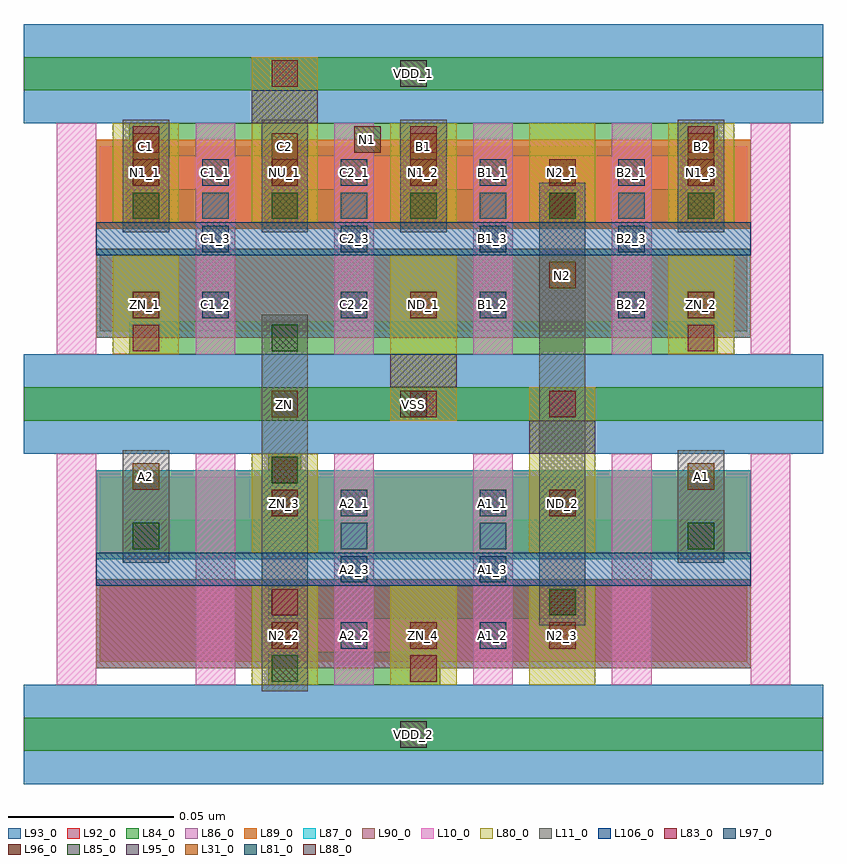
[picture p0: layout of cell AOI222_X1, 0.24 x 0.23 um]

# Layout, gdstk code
import gdstk
lib = gdstk.Library(unit=1e-6, precision=1e-09)
def R(c, l, rs):  # rectangles x0, y0, x1, y1
    for r in rs: c.add(gdstk.rectangle(r[:2], r[2:], *l))
def A(c, l, x, y, w, h, nx, ny, dx, dy):  # array of equal rectangles
    R(c, l, [(x+i*dx, y+j*dy, x+i*dx+w, y+j*dy+h) for i in range(nx) for j in range(ny)])
L10_0 = (10, 0)
L11_0 = (11, 0)
L31_0 = (31, 0)
L80_0 = (80, 0)
L81_0 = (81, 0)
L83_0 = (83, 0)
L84_0 = (84, 0)
L85_0 = (85, 0)
L86_0 = (86, 0)
L87_0 = (87, 0)
L88_0 = (88, 0)
L89_0 = (89, 0)
L90_0 = (90, 0)
L92_0 = (92, 0)
L93_0 = (93, 0)
L95_0 = (95, 0)
L96_0 = (96, 0)
L97_0 = (97, 0)
L106_0 = (106, 0)

aoi222_x1 = lib.new_cell('AOI222_X1')
A(aoi222_x1, L10_0, -0.027, -0.085, 0.012, 0.07, 6, 2, 0.042, 0.1)
A(aoi222_x1, L11_0, 0.035, -0.087, 0.014, 0.034, 1, 5, 0, 0.02)
A(aoi222_x1, L11_0, 0.119, -0.067, 0.014, 0.034, 1, 6, 0, 0.02)
A(aoi222_x1, L11_0, -0.007, 0.052, 0.014, 0.034, 3, 1, 0.042, 0)
R(aoi222_x1, L11_0, [(-0.007,-0.048,0.007,-0.014), (0.161,-0.048,0.175,-0.014), (0.161,0.052,0.175,0.086)])
A(aoi222_x1, L31_0, -0.004, 0.074, 0.008, 0.008, 3, 1, 0.042, 0)
R(aoi222_x1, L31_0, [(-0.004,-0.026,0.004,-0.018), (0.164,-0.026,0.172,-0.018), (0.038,-0.004,0.046,0.004), (0.122,0.035,0.13,0.043), (0.164,0.074,0.172,0.082)])
A(aoi222_x1, L80_0, 0.032, -0.085, 0.02, 0.03, 3, 1, 0.042, 0)
A(aoi222_x1, L80_0, -0.01, 0.015, 0.02, 0.03, 3, 1, 0.084, 0)
A(aoi222_x1, L80_0, -0.01, 0.055, 0.02, 0.03, 5, 1, 0.042, 0)
R(aoi222_x1, L80_0, [(0.032,-0.045,0.052,-0.015), (0.116,-0.045,0.136,-0.015), (0.116,-0.025,0.136,0.005), (0.074,-0.005,0.094,0.025), (0.032,0.075,0.052,0.105)])
A(aoi222_x1, L81_0, 0.017, 0.056, 0.008, 0.008, 4, 1, 0.042, 0)
R(aoi222_x1, L81_0, [(0.059,-0.044,0.067,-0.036), (0.101,-0.044,0.109,-0.036)])
A(aoi222_x1, L83_0, 0.122, -0.064, 0.008, 0.008, 1, 3, 0, 0.06)
A(aoi222_x1, L83_0, -0.004, 0.076, 0.008, 0.008, 3, 1, 0.084, 0)
R(aoi222_x1, L83_0, [(0.08,-0.084,0.088,-0.076), (0.038,-0.064,0.046,-0.056), (0.038,-0.024,0.046,-0.016), (0.08,-0.004,0.088,0.004), (-0.004,0.016,0.004,0.024), (0.164,0.016,0.172,0.024), (-0.004,0.076,0.004,0.084), (-0.004,0.076,0.004,0.084), (-0.004,0.076,0.004,0.084), (-0.004,0.076,0.004,0.084), (-0.004,0.076,0.004,0.084), (-0.004,0.076,0.004,0.084), (-0.004,0.076,0.004,0.084), (-0.004,0.076,0.004,0.084), (-0.004,0.076,0.004,0.084), (0.038,0.096,0.046,0.104)])
A(aoi222_x1, L84_0, -0.037, -0.105, 0.242, 0.01, 1, 3, 0, 0.1)
A(aoi222_x1, L84_0, 0.037, -0.065, 0.031, 0.01, 4, 1, 0.021, 0)
A(aoi222_x1, L84_0, -0.005, 0.015, 0.031, 0.01, 8, 2, 0.021, 0.06)
A(aoi222_x1, L84_0, -0.006, 0.055, 0.032, 0.01, 3, 1, 0.042, 0)
R(aoi222_x1, L84_0, [(0.037,-0.085,0.068,-0.075), (0.058,-0.085,0.089,-0.075), (-0.007,-0.045,0.069,-0.035), (0.099,-0.045,0.175,-0.035), (0.037,-0.025,0.047,-0.015), (0.121,0.055,0.131,0.065), (0.142,0.055,0.174,0.065)])
A(aoi222_x1, L85_0, -0.004, 0.056, 0.008, 0.008, 5, 1, 0.042, 0)
R(aoi222_x1, L85_0, [(0.038,-0.084,0.046,-0.076), (0.122,-0.064,0.13,-0.056), (-0.004,-0.044,0.004,-0.036), (0.164,-0.044,0.172,-0.036), (0.038,-0.024,0.046,-0.016), (0.038,0.016,0.046,0.024)])
R(aoi222_x1, L86_0, [(-0.015,-0.08,0.183,-0.053), (-0.015,0.053,0.183,0.08)])
R(aoi222_x1, L87_0, [(-0.015,-0.047,0.183,-0.02), (-0.015,0.02,0.183,0.047)])
A(aoi222_x1, L88_0, 0.077, -0.104, 0.008, 0.008, 1, 3, 0, 0.1)
R(aoi222_x1, L88_0, [(0.063,0.076,0.071,0.084)])
R(aoi222_x1, L89_0, [(-0.015,-0.047,0.183,-0.02), (-0.015,0.053,0.183,0.08)])
R(aoi222_x1, L90_0, [(-0.015,-0.08,0.183,-0.053), (-0.015,0.02,0.183,0.047)])
R(aoi222_x1, L92_0, [(-0.014,-0.078,0.182,-0.055), (-0.014,-0.045,0.182,-0.022), (-0.014,0.022,0.182,0.045), (-0.014,0.055,0.182,0.078)])
A(aoi222_x1, L93_0, -0.037, -0.115, 0.242, 0.03, 1, 3, 0, 0.1)
R(aoi222_x1, L95_0, [(0.116,-0.015,0.136,-0.005), (0.074,0.005,0.094,0.015), (0.032,0.085,0.052,0.095)])
A(aoi222_x1, L96_0, 0.038, -0.074, 0.008, 0.008, 3, 1, 0.042, 0)
A(aoi222_x1, L96_0, -0.004, 0.026, 0.008, 0.008, 3, 1, 0.084, 0)
A(aoi222_x1, L96_0, -0.004, 0.066, 0.008, 0.008, 5, 1, 0.042, 0)
R(aoi222_x1, L96_0, [(0.038,-0.034,0.046,-0.026), (0.122,-0.034,0.13,-0.026)])
A(aoi222_x1, L97_0, 0.059, -0.074, 0.008, 0.008, 1, 3, 0, 0.02)
A(aoi222_x1, L97_0, 0.101, -0.074, 0.008, 0.008, 1, 3, 0, 0.02)
A(aoi222_x1, L97_0, 0.017, 0.026, 0.008, 0.008, 4, 3, 0.042, 0.02)
R(aoi222_x1, L106_0, [(-0.015,-0.055,0.183,-0.045), (-0.015,0.045,0.183,0.055)])
aoi222_x1.add(gdstk.Label('A1_3', (0.105,-0.05), layer=97, texttype=0))
aoi222_x1.add(gdstk.Label('A1_2', (0.105,-0.07), layer=97, texttype=0))
aoi222_x1.add(gdstk.Label('A1_1', (0.105,-0.03), layer=97, texttype=0))
aoi222_x1.add(gdstk.Label('A2_1', (0.063,-0.03), layer=97, texttype=0))
aoi222_x1.add(gdstk.Label('A2_3', (0.063,-0.05), layer=97, texttype=0))
aoi222_x1.add(gdstk.Label('A2_2', (0.063,-0.07), layer=97, texttype=0))
aoi222_x1.add(gdstk.Label('B2_2', (0.147,0.03), layer=97, texttype=0))
aoi222_x1.add(gdstk.Label('B2_3', (0.147,0.05), layer=97, texttype=0))
aoi222_x1.add(gdstk.Label('B2_1', (0.147,0.07), layer=97, texttype=0))
aoi222_x1.add(gdstk.Label('B1_1', (0.105,0.07), layer=97, texttype=0))
aoi222_x1.add(gdstk.Label('B1_3', (0.105,0.05), layer=97, texttype=0))
aoi222_x1.add(gdstk.Label('B1_2', (0.105,0.03), layer=97, texttype=0))
aoi222_x1.add(gdstk.Label('C2_2', (0.063,0.03), layer=97, texttype=0))
aoi222_x1.add(gdstk.Label('C2_1', (0.063,0.07), layer=97, texttype=0))
aoi222_x1.add(gdstk.Label('C1_1', (0.021,0.07), layer=97, texttype=0))
aoi222_x1.add(gdstk.Label('C1_3', (0.021,0.05), layer=97, texttype=0))
aoi222_x1.add(gdstk.Label('C1_2', (0.021,0.03), layer=97, texttype=0))
aoi222_x1.add(gdstk.Label('C2_3', (0.063,0.05), layer=97, texttype=0))
aoi222_x1.add(gdstk.Label('N2_3', (0.126,-0.07), layer=96, texttype=0))
aoi222_x1.add(gdstk.Label('ND_2', (0.126,-0.03), layer=96, texttype=0))
aoi222_x1.add(gdstk.Label('ZN_4', (0.084,-0.07), layer=96, texttype=0))
aoi222_x1.add(gdstk.Label('N2_2', (0.042,-0.07), layer=96, texttype=0))
aoi222_x1.add(gdstk.Label('ZN_3', (0.042,-0.03), layer=96, texttype=0))
aoi222_x1.add(gdstk.Label('ZN_2', (0.168,0.03), layer=96, texttype=0))
aoi222_x1.add(gdstk.Label('N1_3', (0.168,0.07), layer=96, texttype=0))
aoi222_x1.add(gdstk.Label('N2_1', (0.126,0.07), layer=96, texttype=0))
aoi222_x1.add(gdstk.Label('ND_1', (0.084,0.03), layer=96, texttype=0))
aoi222_x1.add(gdstk.Label('N1_2', (0.084,0.07), layer=96, texttype=0))
aoi222_x1.add(gdstk.Label('N1_1', (0,0.07), layer=96, texttype=0))
aoi222_x1.add(gdstk.Label('ZN_1', (0,0.03), layer=96, texttype=0))
aoi222_x1.add(gdstk.Label('NU_1', (0.042,0.07), layer=96, texttype=0))
aoi222_x1.add(gdstk.Label('VDD_1', (0.081,0.1), layer=88, texttype=0))
aoi222_x1.add(gdstk.Label('VDD_2', (0.081,-0.1), layer=88, texttype=0))
aoi222_x1.add(gdstk.Label('VSS', (0.081,0), layer=88, texttype=0))
aoi222_x1.add(gdstk.Label('N1', (0.067,0.08), layer=88, texttype=0))
aoi222_x1.add(gdstk.Label('B2', (0.168,0.078), layer=31, texttype=0))
aoi222_x1.add(gdstk.Label('B1', (0.084,0.078), layer=31, texttype=0))
aoi222_x1.add(gdstk.Label('C2', (0.042,0.078), layer=31, texttype=0))
aoi222_x1.add(gdstk.Label('C1', (0,0.078), layer=31, texttype=0))
aoi222_x1.add(gdstk.Label('A1', (0.168,-0.022), layer=31, texttype=0))
aoi222_x1.add(gdstk.Label('A2', (0,-0.022), layer=31, texttype=0))
aoi222_x1.add(gdstk.Label('N2', (0.126,0.039), layer=31, texttype=0))
aoi222_x1.add(gdstk.Label('ZN', (0.042,0), layer=31, texttype=0))

lib.write_gds('AOI222_X1.gds')
